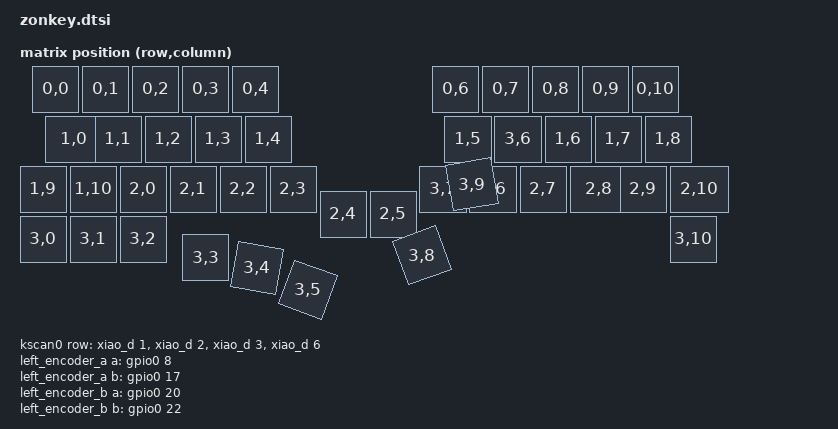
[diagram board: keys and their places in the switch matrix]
#include <dt-bindings/zmk/matrix_transform.h>
#include <dt-bindings/zmk/input_transform.h>
#include <dt-bindings/input/input-event-codes.h>
#include <dt-bindings/zmk/bt.h>
#include <input/processors.dtsi>
#include <physical_layouts.dtsi>

/ {
    chosen {
        zmk,physical-layout = &tomkey_physical_layout;
        zephyr,display = &oled;
    };


    // Trackpad settings
    split_inputs {
        #address-cells = <1>;
        #size-cells = <0>;

        glidepoint_split_L: glidepoint_split_L@0 {
            compatible = "zmk,input-split";
            reg = <0>;
        };
    };

    glidepoint_listener_L: glidepoint_listener_L {
        compatible = "zmk,input-listener";
        status = "disabled";
        device = <&glidepoint_split_L>;
        input-processors = <&zip_xy_to_scroll_mapper>,
                           <&zip_scroll_transform (INPUT_TRANSFORM_X_INVERT | INPUT_TRANSFORM_Y_INVERT)>,
                           <&zip_xy_scaler 1 16>,
                           <&zip_scroll_scaler 1 5>;
    };

    glidepoint_listener_R: glidepoint_listener_R {
        compatible = "zmk,input-listener";
        status = "disabled";
        input-processors = <&zip_xy_transform (INPUT_TRANSFORM_X_INVERT)>;
        scroller {
            layers = <1>;
            input-processors = <&zip_xy_to_scroll_mapper>,
                               <&zip_scroll_transform (INPUT_TRANSFORM_X_INVERT | INPUT_TRANSFORM_Y_INVERT)>,
                               <&zip_xy_scaler 1 16>,
                               <&zip_scroll_scaler 1 5>;
        };

i2c1_default: i2c1_default {
        group1 {
            psels = <NRF_PSEL(TWIM_SDA, 0, 4)>,
                    <NRF_PSEL(TWIM_SCL, 0, 5)>;
        };
    };

    i2c1_sleep: i2c1_sleep {
        group1 {
            psels = <NRF_PSEL(TWIM_SDA, 0, 4)>,
                    <NRF_PSEL(TWIM_SCL, 0, 5)>;
            low-power-enable;
        };
    };
};
&i2c1 {
    status = "okay";
    compatible = "nordic,nrf-twi";
    pinctrl-0 = <&i2c1_default>;
    pinctrl-1 = <&i2c1_sleep>;
    pinctrl-names = "default", "sleep";

    clock-frequency = <100000>;
    oled: ssd1306@3c {
        compatible = "solomon,ssd1306fb";
        reg = <0x3c>;
        width = <128>;
        height = <32>;
        segment-offset = <0>;
        page-offset = <0>;
        display-offset = <0>;
        multiplex-ratio = <31>;
        com-sequential;
        inversion-on;
        prechargep = <0x22>;
    };
};

&xiao_serial { status = "disabled"; };


kscan0: kscan {
        compatible = "zmk,kscan-gpio-matrix";
        label = "KSCAN";
        diode-direction = "col2row";
        row-gpios = <&xiao_d 1 (GPIO_ACTIVE_HIGH | GPIO_PULL_DOWN)>,
                    <&xiao_d 2 (GPIO_ACTIVE_HIGH | GPIO_PULL_DOWN)>,
                    <&xiao_d 3 (GPIO_ACTIVE_HIGH | GPIO_PULL_DOWN)>,
                    <&xiao_d 6 (GPIO_ACTIVE_HIGH | GPIO_PULL_DOWN)>;
    };

    default_transform: keymap_transform_0 {
        compatible = "zmk,matrix-transform";
        columns = <11>;
        rows = <4>;
        map = <
            RC(0,0) RC(0,1) RC(0,2) RC(0,3) RC(0,4)          RC(0,6) RC(0,7) RC(0,8) RC(0,9) RC(0,10)
            RC(1,0) RC(1,1) RC(1,2) RC(1,3) RC(1,4) RC(1,5)  RC(3,6) RC(1,6) RC(1,7) RC(1,8) RC(1,9) RC(1,10)
            RC(2,0) RC(2,1) RC(2,2) RC(2,3) RC(2,4) RC(2,5)  RC(3,7) RC(2,6) RC(2,7) RC(2,8) RC(2,9) RC(2,10)
            RC(3,0) RC(3,1) RC(3,2) RC(3,3) RC(3,4) RC(3,5)  RC(3,8) RC(3,9)                     RC(3,10)
        >;
    };

    default_layout: default_layout {
        compatible = "zmk,physical-layout";
        display-name = "Default";
        kscan = <&kscan0>;
        transform = <&default_transform>;

        keys = <
            &key_physical_attrs 100 100   25    0       0     0     0
            &key_physical_attrs 100 100  125    0       0     0     0
            &key_physical_attrs 100 100  225    0       0     0     0
            &key_physical_attrs 100 100  325    0       0     0     0
            &key_physical_attrs 100 100  425    0       0     0     0

            &key_physical_attrs 100 100  825    0       0     0     0
            &key_physical_attrs 100 100  925    0       0     0     0
            &key_physical_attrs 100 100 1025    0       0     0     0
            &key_physical_attrs 100 100 1125    0       0     0     0
            &key_physical_attrs 100 100 1225    0       0     0     0

            &key_physical_attrs 125 100   50   100       0     0     0
            &key_physical_attrs 100 100  150   100       0     0     0
            &key_physical_attrs 100 100  250   100       0     0     0
            &key_physical_attrs 100 100  350   100       0     0     0
            &key_physical_attrs 100 100  450   100       0     0     0

            &key_physical_attrs 100 100  850   100       0     0     0
            &key_physical_attrs 100 100  950   100       0     0     0
            &key_physical_attrs 100 100 1050   100       0     0     0
            &key_physical_attrs 100 100 1150   100       0     0     0
            &key_physical_attrs 100 100 1250   100       0     0     0

            &key_physical_attrs 100 100    0   200       0     0     0
            &key_physical_attrs 100 100  100   200       0     0     0
            &key_physical_attrs 100 100  200   200       0     0     0
            &key_physical_attrs 100 100  300   200       0     0     0
            &key_physical_attrs 100 100  400   200       0     0     0
            &key_physical_attrs 100 100  500   200       0     0     0
            &key_physical_attrs 100 100  600   250       0     0     0
            &key_physical_attrs 100 100  700   250       0     0     0
            &key_physical_attrs 100 100  800   200       0     0     0
            &key_physical_attrs 100 100  900   200       0     0     0
            &key_physical_attrs 100 100 1000   200       0     0     0
            &key_physical_attrs 125 100 1100   200       0     0     0
            &key_physical_attrs 100 100 1200   200       0     0     0
            &key_physical_attrs 125 100 1300   200       0     0     0

            &key_physical_attrs 100 100    0   300       0     0     0
            &key_physical_attrs 100 100  100   300       0     0     0
            &key_physical_attrs 100 100  200   300       0     0     0
            &key_physical_attrs 100 100  325   337       0     0     0
            &key_physical_attrs 100 100  437   350  1000   437   350
            &key_physical_attrs 100 100  550   387  2000   550   387
            &key_physical_attrs 100 100  750   387 (-2000)  650   387
            &key_physical_attrs 100 100  863   350 (-1000)   0   350
            &key_physical_attrs 100 100 1300   300       0     0   0
        >;
    };

    left_encoder_a: encoder_a_left {
        compatible = "alps,ec11";
        a-gpios = <&gpio0 8 (GPIO_ACTIVE_HIGH | GPIO_PULL_UP)>;
        b-gpios = <&gpio0 17 (GPIO_ACTIVE_HIGH | GPIO_PULL_UP)>;
        steps = <20>;
        status = "disabled";
    };
    
    left_encoder_b: encoder_b_left {
        compatible = "alps,ec11";
        a-gpios = <&gpio0 20 (GPIO_ACTIVE_HIGH | GPIO_PULL_UP)>;
        b-gpios = <&gpio0 22 (GPIO_ACTIVE_HIGH | GPIO_PULL_UP)>;
        steps = <20>;
        status = "disabled";
    };

    right_encoder: encoder_right {
        compatible = "alps,ec11";
        status = "disabled";
    };

    sensors: sensors {
        compatible = "zmk,keymap-sensors";
        sensors = <&left_encoder_a &left_encoder_b &right_encoder>;
        triggers-per-rotation = <10>;
    };
};
